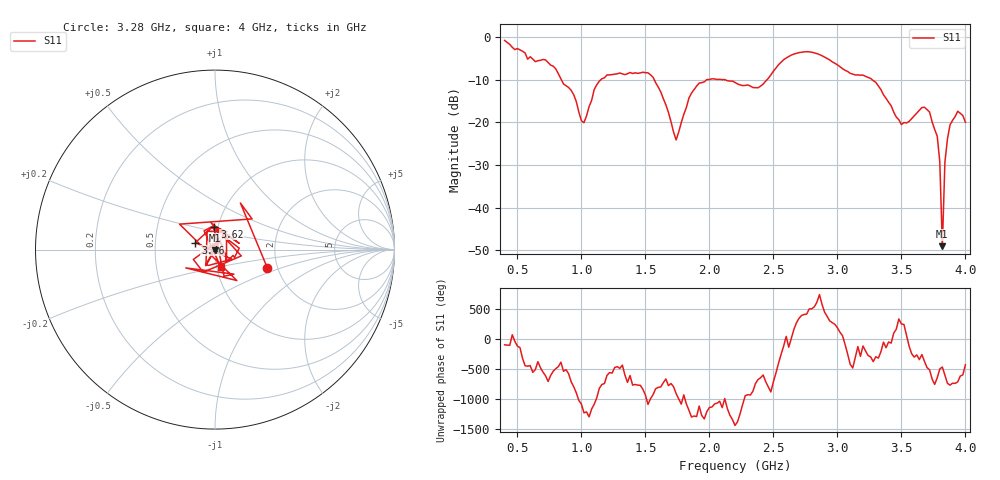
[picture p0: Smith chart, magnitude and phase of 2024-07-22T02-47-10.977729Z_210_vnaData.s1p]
!Created with skrf (http://scikit-rf.org).
# Hz S RI R 50.0
!freq ReS11 ImS11
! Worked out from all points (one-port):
!   181 points, 400 MHz to 4 GHz, reference 50 ohm
!   lowest |S11| = -49.0 dB at 3.82 GHz (marker M1), VSWR 1.01, Z = 49.9 - j0.333 ohm
!   |S11| at or under -10 dB: 1.57 GHz to 1.978 GHz (408 MHz wide, 23 % of centre); 2.125 GHz to 2.449 GHz (324.8 MHz wide, 14.2 % of centre); 3.273 GHz to end of sweep (the widest 3 of 4)
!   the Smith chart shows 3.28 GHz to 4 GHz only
!   S11 on the Smith chart (normalised r, x): 3.28 GHz: 1.77, -0.40; 3.46 GHz: 0.80, +0.06; 3.62 GHz: 0.96, +0.25; 4 GHz: 1.05, -0.20
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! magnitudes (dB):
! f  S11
! 400 MHz  -0.8
! 720 MHz  -5.3
! 860 MHz  -11.0
! 940 MHz  -13.5
! 1.02 GHz  -20.0
! 1.14 GHz  -10.3
! 1.3 GHz  -8.4
! 1.56 GHz  -9.4
! 1.74 GHz  -24.1
! 1.76 GHz  -22.3
! 1.84 GHz  -14.3
! 1.92 GHz  -10.8
! 2.2 GHz  -10.6
! 2.38 GHz  -11.8
! 2.66 GHz  -4.0
! 3.1 GHz  -8.5
! 3.28 GHz  -10.2
! 3.46 GHz  -18.7
! 3.56 GHz  -19.8
! 3.62 GHz  -17.8
! 3.72 GHz  -17.6
! 3.78 GHz  -23.2
! 3.8 GHz  -29.2
! 3.82 GHz  -49.0
! 3.84 GHz  -29.3
! 3.88 GHz  -20.6
! 3.94 GHz  -17.4
! 4 GHz  -19.9
